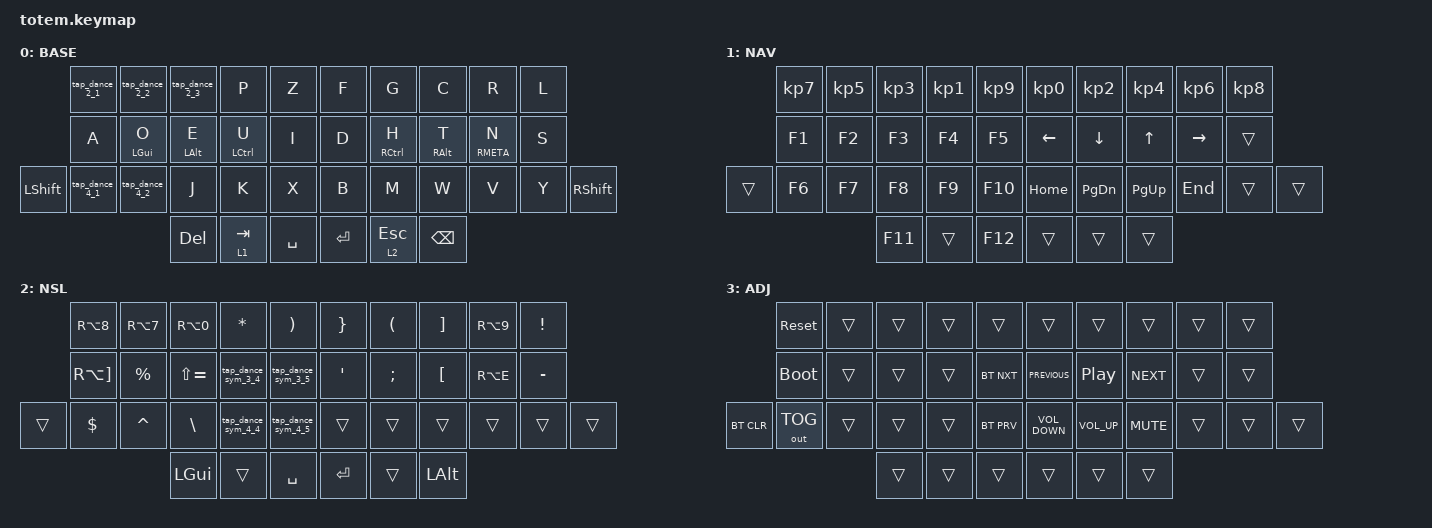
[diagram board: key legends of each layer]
#include <behaviors.dtsi>
#include <dt-bindings/zmk/bt.h>
#include <dt-bindings/zmk/keys.h>
#include <dt-bindings/zmk/outputs.h>

#define BASE 0
#define NAV  1
#define NSL  2
#define ADJ  3

&mt {
    /* tapping-term-ms = <170>; */
    quick-tap-ms = <250>;
    /* flavor = "hold-preferred"; */
};

&lt {
    /* tapping-term-ms = <170>; */
    quick-tap-ms = <250>;
    /* flavor = "tap-preferred"; */
    require-prior-idle-ms = <250>;
};

&sk { 
    quick-release; 
};

/ {
    behaviors {
       /* Custom mod-tap/layer-tap behavior.
        * The main idea is to accomodate
        * the one-shot (i.e. sticky) mods.
        */
        slt: sticky_layer_tap {
            compatible = "zmk,behavior-hold-tap";
            #binding-cells = <2>;
            flavor = "tap-preferred";
            tapping-term-ms = <200>;
            require-prior-idle-ms = <250>;
            bindings = <&mo>, <&sk>;
            display-name = "Sticky-Layer-Tap";
        };

        smt: sticky_mod_tap {
            compatible = "zmk,behavior-hold-tap";
            #binding-cells = <2>;
            flavor = "hold-preferred";
            tapping-term-ms = <200>;
            bindings = <&kp>, <&sk>;
            display-name = "Sticky-Mod-Tap";
        };

       /* Tap dance bindings for layers to get
        * symbols on the same key without interrupting
        * typing speed with long key holding pauses
        */
        tap_dance_2_1: tap_dance_2_1 {
            compatible = "zmk,behavior-tap-dance";
            label = "TAP_DANCE_2_1";
            #binding-cells = <0>;
            bindings = <&kp LESS_THAN>, <&kp GREATER_THAN>;
        };

        tap_dance_2_2: tap_dance_2_2 {
            compatible = "zmk,behavior-tap-dance";
            label = "TAP_DANCE_2_2";
            #binding-cells = <0>;
            bindings = <&kp COMMA>, <&kp NON_US_BACKSLASH>;
        };

        tap_dance_2_3: tap_dance_2_3 {
            compatible = "zmk,behavior-tap-dance";
            label = "TAP_DANCE_2_3";
            #binding-cells = <0>;
            bindings = <&kp PERIOD>, <&kp LS(NON_US_BACKSLASH)>;
        };

        tap_dance_4_1: tap_dance_4_1 {
            compatible = "zmk,behavior-tap-dance";
            label = "TAP_DANCE_4_1";
            #binding-cells = <0>;
            bindings = <&kp LS(BACKSLASH)>, <&kp AT_SIGN>;
        };

        tap_dance_4_2: tap_dance_4_2 {
            compatible = "zmk,behavior-tap-dance";
            label = "TAP_DANCE_4_2";
            #binding-cells = <0>;
            bindings = <&kp Q>, <&kp RA(Q)>;
        };

        tap_dance_sym_3_4: tap_dance_sym_3_4 {
            compatible = "zmk,behavior-tap-dance";
            label = "TAP_DANCE_SYM_3_4";
            #binding-cells = <0>;
            bindings = <&kp AMPERSAND>, <&kp UNDERSCORE>;
        };

        tap_dance_sym_3_5: tap_dance_sym_3_5 {
            compatible = "zmk,behavior-tap-dance";
            label = "TAP_DANCE_SYM_3_5";
            #binding-cells = <0>;
            bindings = <&kp RA(Q)>, <&kp GRAVE>;
        };

        tap_dance_sym_4_4: tap_dance_sym_4_4 {
            compatible = "zmk,behavior-tap-dance";
            label = "TAP_DANCE_SYM_4_4";
            #binding-cells = <0>;
            bindings = <&kp SLASH>, <&kp QMARK>;
        };

        tap_dance_sym_4_5: tap_dance_sym_4_5 {
            compatible = "zmk,behavior-tap-dance";
            label = "TAP_DANCE_SYM_4_5";
            #binding-cells = <0>;
            bindings = <&kp RA(MINUS)>, <&kp RA(NON_US_BACKSLASH)>;
        };
    };

    macros {
        /*   Easier navigation macros.  */

        four_down: four_down_macro {
            compatible = "zmk,behavior-macro";
            #binding-cells = <0>;
            bindings = <&macro_tap>, <&kp DOWN &kp DOWN &kp DOWN &kp DOWN>;
        };

        four_up: four_up_macro {
            compatible = "zmk,behavior-macro";
            #binding-cells = <0>;
            bindings = <&macro_tap>, <&kp UP &kp UP &kp UP &kp UP>;
        };

        eight_down: eight_down_macro {
            compatible = "zmk,behavior-macro";
            #binding-cells = <0>;
            bindings = <&macro_tap>, <&kp N8 &kp DOWN>;
        };

        eight_up: eight_up_macro {
            compatible = "zmk,behavior-macro";
            #binding-cells = <0>;
            bindings = <&macro_tap>, <&kp N8 &kp UP>;
        };
    };

    conditional_layers {
        compatible = "zmk,conditional-layers";

        media_layer_condition {
            if-layers = <1 2>;
            then-layer = <3>;
        };
    };




/* ▄▄▄▄▄▄▄▄▄▄▄▄▄▄▄▄▄▄▄▄▄▄▄▄▄▄▄▄▄▄▄▄▄▄▄▄▄▄▄▄▄▄▄▄▄▄▄▄▄▄▄▄▄▄▄▄▄▄▄▄▄▄▄▄▄▄▄▄▄▄▄▄▄▄▄▄▄▄▄▄▄▄▄▄▄▄▄▄▄▄▄▄▄▄▄▄▄▄▄▄▄▄▄▄▄▄▄▄▄▄▄▄▄▄▄▄▄▄▄▄▄▄▄▄▄▄▄▄▄▄▄▄▄▄▄▄▄▄▄▄▄▄▄▄▄▄▄▄▄▄▄▄▄ 

              ┏━━━━━━━━━━━┳━━━━━━━━━━━┳━━━━━━━━━━━┳━━━━━━━━━━━┳━━━━━━━━━━━┓   ┏━━━━━━━━━━━┳━━━━━━━━━━━┳━━━━━━━━━━━┳━━━━━━━━━━━┳━━━━━━━━━━━┓
              ┃   ; (:)   ┃   , (<)   ┃   . (>)   ┃     p     ┃     y     ┃   ┃     f     ┃     g     ┃     c     ┃     r     ┃     l     ┃
              ┣━━━━━━━━━━━╋━━━━━━━━━━━╋━━━━━━━━━━━╋━━━━━━━━━━━╋━━━━━━━━━━━┫   ┣━━━━━━━━━━━╋━━━━━━━━━━━╋━━━━━━━━━━━╋━━━━━━━━━━━╋━━━━━━━━━━━┫
              ┃     a     ┃ o (LGUI)  ┃ e (LALT)  ┃ u (LCTRL) ┃     i     ┃   ┃     d     ┃ h (RCTRL) ┃ t (RALT)  ┃ n (RGUI)  ┃     s     ┃
  ┏━━━━━━━━━━━╋━━━━━━━━━━━╋━━━━━━━━━━━╋━━━━━━━━━━━╋━━━━━━━━━━━╋━━━━━━━━━━━┫   ┣━━━━━━━━━━━╋━━━━━━━━━━━╋━━━━━━━━━━━╋━━━━━━━━━━━╋━━━━━━━━━━━╋━━━━━━━━━━━┓
  ┃   LSHFT   ┃   ' (")   ┃   q (@)   ┃     j     ┃     k     ┃     x     ┃   ┃     b     ┃     m     ┃     w     ┃     v     ┃     z     ┃   RSHFT   ┃
  ┗━━━━━━━━━━━┻━━━━━━━━━━━┻━━━━━━━━━━━╋━━━━━━━━━━━╋━━━━━━━━━━━╋━━━━━━━━━━━┫   ┣━━━━━━━━━━━╋━━━━━━━━━━━╋━━━━━━━━━━━╋━━━━━━━━━━━┻━━━━━━━━━━━┻━━━━━━━━━━━┛
                                      ┃    DEL    ┃ TAB (L1)  ┃   SPACE   ┃   ┃    RET    ┃  ESC (L2) ┃   BCKSPC  ┃
                                      ┗━━━━━━━━━━━┻━━━━━━━━━━━┻━━━━━━━━━━━┛   ┗━━━━━━━━━━━┻━━━━━━━━━━━┻━━━━━━━━━━━┛

▄▄▄▄▄▄▄▄▄▄▄▄▄▄▄▄▄▄▄▄▄▄▄▄▄▄▄▄▄▄▄▄▄▄▄▄▄▄▄▄▄▄▄▄▄▄▄▄▄▄▄▄▄▄▄▄▄▄▄▄▄▄▄▄▄▄▄▄▄▄▄▄▄▄▄▄▄▄▄▄▄▄▄▄▄▄▄▄▄▄▄▄▄▄▄▄▄▄▄▄▄▄▄▄▄▄▄▄▄▄▄▄▄▄▄▄▄▄▄▄▄▄▄▄▄▄▄▄▄▄▄▄▄▄▄▄▄▄▄▄▄▄▄▄▄▄▄▄▄▄▄▄▄▄▄▄▄  */
    keymap {
        compatible = "zmk,keymap";
        base_layer {
            label = "BASE";
            bindings = <
           &tap_dance_2_1  &tap_dance_2_2  &tap_dance_2_3  &kp P        &kp Z        &kp F      &kp G          &kp C            &kp R        &kp L
           &kp A           &mt LEFT_GUI O  &mt LEFT_ALT E  &mt LCTRL U  &kp I        &kp D      &mt RCTRL H    &mt RIGHT_ALT T  &mt RMETA N  &kp S
&kp LSHFT  &tap_dance_4_1  &tap_dance_4_2  &kp J           &kp K        &kp X        &kp B      &kp M          &kp W            &kp V        &kp Y  &kp RIGHT_SHIFT
                                           &kp DELETE      &slt 1 TAB   &kp SPACE    &kp ENTER  &slt 2 ESCAPE  &kp BACKSPACE
            >;
        };




/* ▄▄▄▄▄▄▄▄▄▄▄▄▄▄▄▄▄▄▄▄▄▄▄▄▄▄▄▄▄▄▄▄▄▄▄▄▄▄▄▄▄▄▄▄▄▄▄▄▄▄▄▄▄▄▄▄▄▄▄▄▄▄▄▄▄▄▄▄▄▄▄▄▄▄▄▄▄▄▄▄▄▄▄▄▄▄▄▄▄▄▄▄▄▄▄▄▄▄▄▄▄▄▄▄▄▄▄▄▄▄▄▄▄▄▄▄▄▄▄▄▄▄▄▄▄▄▄▄▄▄▄▄▄▄▄▄▄▄▄▄▄▄▄▄▄▄▄▄▄▄▄▄▄ 

              ┏━━━━━━━━━━━┳━━━━━━━━━━━┳━━━━━━━━━━━┳━━━━━━━━━━━┳━━━━━━━━━━━┓   ┏━━━━━━━━━━━┳━━━━━━━━━━━┳━━━━━━━━━━━┳━━━━━━━━━━━┳━━━━━━━━━━━┓
              ┃     7     ┃     5     ┃     3     ┃     1     ┃     9     ┃   ┃     0     ┃     2     ┃     4     ┃     6     ┃     8     ┃
              ┣━━━━━━━━━━━╋━━━━━━━━━━━╋━━━━━━━━━━━╋━━━━━━━━━━━╋━━━━━━━━━━━┫   ┣━━━━━━━━━━━╋━━━━━━━━━━━╋━━━━━━━━━━━╋━━━━━━━━━━━╋━━━━━━━━━━━┫
              ┃     F1    ┃     F2    ┃     F3    ┃     F4    ┃     F5    ┃   ┃    LEFT   ┃    DOWN   ┃     UP    ┃   RIGHT   ┃           ┃
  ┏━━━━━━━━━━━╋━━━━━━━━━━━╋━━━━━━━━━━━╋━━━━━━━━━━━╋━━━━━━━━━━━╋━━━━━━━━━━━┫   ┣━━━━━━━━━━━╋━━━━━━━━━━━╋━━━━━━━━━━━╋━━━━━━━━━━━╋━━━━━━━━━━━╋━━━━━━━━━━━┓
  ┃           ┃     F6    ┃     F7    ┃     F8    ┃     F9    ┃    F10    ┃   ┃    HOME   ┃  PG_DOWN  ┃   PG_UP   ┃    END    ┃           ┃           ┃
  ┗━━━━━━━━━━━┻━━━━━━━━━━━┻━━━━━━━━━━━╋━━━━━━━━━━━╋━━━━━━━━━━━╋━━━━━━━━━━━┫   ┣━━━━━━━━━━━╋━━━━━━━━━━━╋━━━━━━━━━━━╋━━━━━━━━━━━┻━━━━━━━━━━━┻━━━━━━━━━━━┛
                                      ┃    F11    ┃           ┃    F12    ┃   ┃           ┃           ┃           ┃
                                      ┗━━━━━━━━━━━┻━━━━━━━━━━━┻━━━━━━━━━━━┛   ┗━━━━━━━━━━━┻━━━━━━━━━━━┻━━━━━━━━━━━┛

▄▄▄▄▄▄▄▄▄▄▄▄▄▄▄▄▄▄▄▄▄▄▄▄▄▄▄▄▄▄▄▄▄▄▄▄▄▄▄▄▄▄▄▄▄▄▄▄▄▄▄▄▄▄▄▄▄▄▄▄▄▄▄▄▄▄▄▄▄▄▄▄▄▄▄▄▄▄▄▄▄▄▄▄▄▄▄▄▄▄▄▄▄▄▄▄▄▄▄▄▄▄▄▄▄▄▄▄▄▄▄▄▄▄▄▄▄▄▄▄▄▄▄▄▄▄▄▄▄▄▄▄▄▄▄▄▄▄▄▄▄▄▄▄▄▄▄▄▄▄▄▄▄▄▄▄▄  */
        nav_layer {
            label = "NAV";
            bindings = <
        &kp KP_NUMBER_7  &kp KP_NUMBER_5  &kp KP_NUMBER_3  &kp KP_NUMBER_1  &kp KP_NUMBER_9    &kp KP_NUMBER_0  &kp KP_NUMBER_2  &kp KP_NUMBER_4  &kp KP_NUMBER_6  &kp KP_NUMBER_8
        &kp F1           &kp F2           &kp F3           &kp F4           &kp F5             &kp LEFT         &kp DOWN         &kp UP           &kp RIGHT        &trans
&trans  &kp F6           &kp F7           &kp F8           &kp F9           &kp F10            &kp HOME         &kp PAGE_DOWN    &kp PAGE_UP      &kp END          &trans           &trans
                                          &kp F11          &trans           &kp F12            &trans           &trans           &trans
            >;
        };




/* ▄▄▄▄▄▄▄▄▄▄▄▄▄▄▄▄▄▄▄▄▄▄▄▄▄▄▄▄▄▄▄▄▄▄▄▄▄▄▄▄▄▄▄▄▄▄▄▄▄▄▄▄▄▄▄▄▄▄▄▄▄▄▄▄▄▄▄▄▄▄▄▄▄▄▄▄▄▄▄▄▄▄▄▄▄▄▄▄▄▄▄▄▄▄▄▄▄▄▄▄▄▄▄▄▄▄▄▄▄▄▄▄▄▄▄▄▄▄▄▄▄▄▄▄▄▄▄▄▄▄▄▄▄▄▄▄▄▄▄▄▄▄▄▄▄▄▄▄▄▄▄▄▄ 

              ┏━━━━━━━━━━━┳━━━━━━━━━━━┳━━━━━━━━━━━┳━━━━━━━━━━━┳━━━━━━━━━━━┓   ┏━━━━━━━━━━━┳━━━━━━━━━━━┳━━━━━━━━━━━┳━━━━━━━━━━━┳━━━━━━━━━━━┓
              ┃     [     ┃     {     ┃     }     ┃     (     ┃     =     ┃   ┃     *     ┃     )     ┃     +     ┃     ]     ┃     !     ┃
              ┣━━━━━━━━━━━╋━━━━━━━━━━━╋━━━━━━━━━━━╋━━━━━━━━━━━╋━━━━━━━━━━━┫   ┣━━━━━━━━━━━╋━━━━━━━━━━━╋━━━━━━━━━━━╋━━━━━━━━━━━╋━━━━━━━━━━━┫
              ┃     ~     ┃     %     ┃     `     ┃   / (?)   ┃   @ (^)   ┃   ┃     ä     ┃     ö     ┃     ü     ┃     ü     ┃     €     ┃
  ┏━━━━━━━━━━━╋━━━━━━━━━━━╋━━━━━━━━━━━╋━━━━━━━━━━━╋━━━━━━━━━━━╋━━━━━━━━━━━┫   ┣━━━━━━━━━━━╋━━━━━━━━━━━╋━━━━━━━━━━━╋━━━━━━━━━━━╋━━━━━━━━━━━╋━━━━━━━━━━━┓
  ┃           ┃     $     ┃     &     ┃     #     ┃   - (_)   ┃   \ (|)   ┃   ┃           ┃           ┃           ┃           ┃           ┃           ┃
  ┗━━━━━━━━━━━┻━━━━━━━━━━━┻━━━━━━━━━━━╋━━━━━━━━━━━╋━━━━━━━━━━━╋━━━━━━━━━━━┫   ┣━━━━━━━━━━━╋━━━━━━━━━━━╋━━━━━━━━━━━╋━━━━━━━━━━━┻━━━━━━━━━━━┻━━━━━━━━━━━┛
                                      ┃    LGUI   ┃           ┃   SPACE   ┃   ┃    RET    ┃           ┃    LALT   ┃
                                      ┗━━━━━━━━━━━┻━━━━━━━━━━━┻━━━━━━━━━━━┛   ┗━━━━━━━━━━━┻━━━━━━━━━━━┻━━━━━━━━━━━┛

▄▄▄▄▄▄▄▄▄▄▄▄▄▄▄▄▄▄▄▄▄▄▄▄▄▄▄▄▄▄▄▄▄▄▄▄▄▄▄▄▄▄▄▄▄▄▄▄▄▄▄▄▄▄▄▄▄▄▄▄▄▄▄▄▄▄▄▄▄▄▄▄▄▄▄▄▄▄▄▄▄▄▄▄▄▄▄▄▄▄▄▄▄▄▄▄▄▄▄▄▄▄▄▄▄▄▄▄▄▄▄▄▄▄▄▄▄▄▄▄▄▄▄▄▄▄▄▄▄▄▄▄▄▄▄▄▄▄▄▄▄▄▄▄▄▄▄▄▄▄▄▄▄▄▄▄▄  */
        num_sym_layer {
            label = "NSL";
            bindings = <
        &kp RA(NUMBER_8)       &kp RA(NUMBER_7)  &kp RA(NUMBER_0)  &kp ASTERISK        &kp RIGHT_PARENTHESIS    &kp RIGHT_BRACE  &kp LEFT_PARENTHESIS  &kp RIGHT_BRACKET  &kp RA(NUMBER_9)  &kp EXCLAMATION
        &kp RA(RIGHT_BRACKET)  &kp PERCENT       &kp LS(EQUAL)     &tap_dance_sym_3_4  &tap_dance_sym_3_5       &kp APOSTROPHE   &kp SEMICOLON         &kp LEFT_BRACKET   &kp RA(E)         &kp MINUS
&trans  &kp DOLLAR             &kp CARET         &kp BACKSLASH     &tap_dance_sym_4_4  &tap_dance_sym_4_5       &trans           &trans                &trans             &trans            &trans           &trans
                                                 &kp LEFT_GUI      &trans              &kp SPACE                &kp ENTER        &trans                &kp LEFT_ALT
            >;
        };




/* ▄▄▄▄▄▄▄▄▄▄▄▄▄▄▄▄▄▄▄▄▄▄▄▄▄▄▄▄▄▄▄▄▄▄▄▄▄▄▄▄▄▄▄▄▄▄▄▄▄▄▄▄▄▄▄▄▄▄▄▄▄▄▄▄▄▄▄▄▄▄▄▄▄▄▄▄▄▄▄▄▄▄▄▄▄▄▄▄▄▄▄▄▄▄▄▄▄▄▄▄▄▄▄▄▄▄▄▄▄▄▄▄▄▄▄▄▄▄▄▄▄▄▄▄▄▄▄▄▄▄▄▄▄▄▄▄▄▄▄▄▄▄▄▄▄▄▄▄▄▄▄▄▄ 

              ┏━━━━━━━━━━━┳━━━━━━━━━━━┳━━━━━━━━━━━┳━━━━━━━━━━━┳━━━━━━━━━━━┓   ┏━━━━━━━━━━━┳━━━━━━━━━━━┳━━━━━━━━━━━┳━━━━━━━━━━━┳━━━━━━━━━━━┓
              ┃  SYS_RES  ┃           ┃           ┃           ┃           ┃   ┃           ┃           ┃           ┃           ┃           ┃
              ┣━━━━━━━━━━━╋━━━━━━━━━━━╋━━━━━━━━━━━╋━━━━━━━━━━━╋━━━━━━━━━━━┫   ┣━━━━━━━━━━━╋━━━━━━━━━━━╋━━━━━━━━━━━╋━━━━━━━━━━━╋━━━━━━━━━━━┫
              ┃  BOOTLDR  ┃           ┃           ┃           ┃  BT_NEXT  ┃   ┃    PREV   ┃     PP    ┃    NEXT   ┃           ┃           ┃
  ┏━━━━━━━━━━━╋━━━━━━━━━━━╋━━━━━━━━━━━╋━━━━━━━━━━━╋━━━━━━━━━━━╋━━━━━━━━━━━┫   ┣━━━━━━━━━━━╋━━━━━━━━━━━╋━━━━━━━━━━━╋━━━━━━━━━━━╋━━━━━━━━━━━╋━━━━━━━━━━━┓
  ┃   BT_CLR  ┃  OUT_TOG  ┃           ┃           ┃           ┃  BT_PREV  ┃   ┃  VOL_DOWN ┃   VOL_UP  ┃    MUTE   ┃           ┃           ┃           ┃
  ┗━━━━━━━━━━━┻━━━━━━━━━━━┻━━━━━━━━━━━╋━━━━━━━━━━━╋━━━━━━━━━━━╋━━━━━━━━━━━┫   ┣━━━━━━━━━━━╋━━━━━━━━━━━╋━━━━━━━━━━━╋━━━━━━━━━━━┻━━━━━━━━━━━┻━━━━━━━━━━━┛
                                      ┃           ┃           ┃           ┃   ┃           ┃           ┃           ┃
                                      ┗━━━━━━━━━━━┻━━━━━━━━━━━┻━━━━━━━━━━━┛   ┗━━━━━━━━━━━┻━━━━━━━━━━━┻━━━━━━━━━━━┛

▄▄▄▄▄▄▄▄▄▄▄▄▄▄▄▄▄▄▄▄▄▄▄▄▄▄▄▄▄▄▄▄▄▄▄▄▄▄▄▄▄▄▄▄▄▄▄▄▄▄▄▄▄▄▄▄▄▄▄▄▄▄▄▄▄▄▄▄▄▄▄▄▄▄▄▄▄▄▄▄▄▄▄▄▄▄▄▄▄▄▄▄▄▄▄▄▄▄▄▄▄▄▄▄▄▄▄▄▄▄▄▄▄▄▄▄▄▄▄▄▄▄▄▄▄▄▄▄▄▄▄▄▄▄▄▄▄▄▄▄▄▄▄▄▄▄▄▄▄▄▄▄▄▄▄▄▄  */
        adjust_layer {
            label = "ADJ";
            bindings = <
            &sys_reset    &trans  &trans  &trans  &trans        &trans             &trans            &trans      &trans  &trans
            &bootloader   &trans  &trans  &trans  &bt BT_NXT    &kp C_PREVIOUS     &kp C_PLAY_PAUSE  &kp C_NEXT  &trans  &trans
&bt BT_CLR  &out OUT_TOG  &trans  &trans  &trans  &bt BT_PRV    &kp C_VOLUME_DOWN  &kp C_VOLUME_UP   &kp C_MUTE  &trans  &trans  &trans
                                  &trans  &trans  &trans        &trans             &trans            &trans
            >;
        };
    };
};
